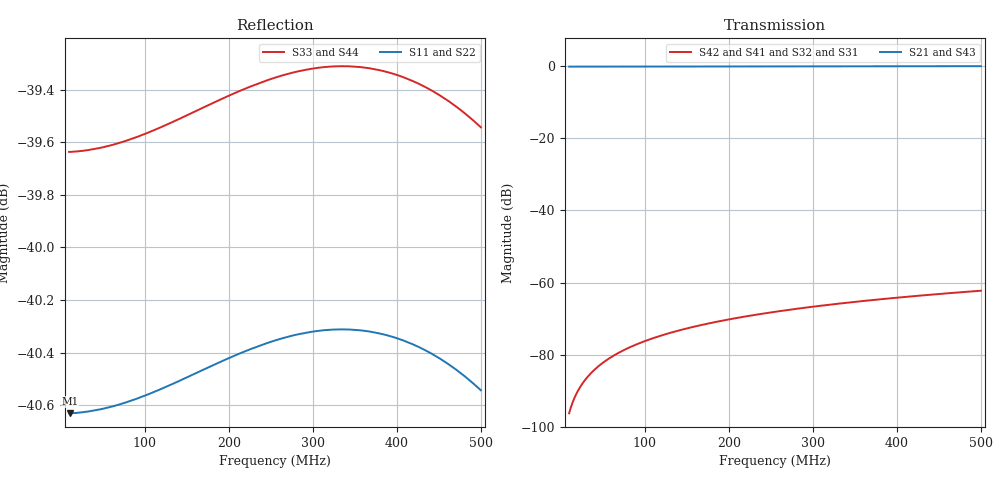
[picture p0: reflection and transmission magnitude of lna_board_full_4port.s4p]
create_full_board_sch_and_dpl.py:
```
import os

# Create lna_fm_98mhz_full_board_cosim.dpl
dpl_content = """<Qucs Schematic 26.1.1>
<Properties>
  <View=60,-411,1141,192,2.04718,0,0>
  <Grid=10,10,1>
  <DataSet=lna_fm_98mhz_full_board_cosim.dat>
  <DataDisplay=lna_fm_98mhz_full_board_cosim.dpl>
  <OpenDisplay=1>
  <Script=>
  <RunScript=0>
  <showFrame=0>
  <FrameText0=Title>
  <FrameText1=Drawn By:>
  <FrameText2=Date:>
  <FrameText3=Revision:>
</Properties>
<Symbol>
</Symbol>
<Components>
</Components>
<Wires>
</Wires>
<Diagrams>
  <Rect 100 80 550 380 3 #c0c0c0 1 00 1 1e+07 5e+07 5e+08 0 -45 10 25 1 -1 0.5 1 315 0 225 1 0 0 "Frequency [Hz]" "S-Parameters [dB]" "">
	<"dB(S[2,1])" #ff0000 0 3 0 0 0>
	<"dB(S[1,1])" #0000ff 0 3 0 0 0>
	<"dB(S[1,2])" #00aa00 0 2 0 0 0>
	<"dB(S[2,2])" #aa00aa 0 2 0 0 0>
  </Rect>
  <Smith 720 80 380 380 3 #c0c0c0 1 00 1 0 1 1 0 0 4 1 1 0 1 1 315 0 225 1 0 0 "" "" "">
	<"S[1,1]" #0000ff 2 3 0 0 0>
	<"S[2,2]" #ff0000 2 3 0 0 0>
  </Smith>
</Diagrams>
<Paintings>
  <Text 100 20 14 #000000 0 "98 MHz FM LNA - Full-Board 4-Port 3D EM Co-Simulation (openEMS + QUCS)">
</Paintings>
"""

with open("lna_fm_98mhz_full_board_cosim.dpl", "w", newline="\n") as f:
    f.write(dpl_content)
print("Created lna_fm_98mhz_full_board_cosim.dpl")

# Create lna_fm_98mhz_full_board_cosim.sch
sch_content = """<Qucs Schematic 25.2.0>
<Properties>
  <View=-50,-80,1200,800,1,0,0>
  <Grid=10,10,1>
  <DataSet=lna_fm_98mhz_full_board_cosim.dat>
  <DataDisplay=lna_fm_98mhz_full_board_cosim.dpl>
  <OpenDisplay=1>
  <Script=>
  <RunScript=0>
  <showFrame=0>
  <FrameText0=Title>
  <FrameText1=Drawn By:>
  <FrameText2=Date:>
  <FrameText3=Revision:>
</Properties>
<Symbol>
</Symbol>
<Components>
<SUBST Subst1 1 80 520 -30 24 0 0 "4.5" 1 "1.6 mm" 1 "35 um" 1 "0.02" 1 "1.72e-08" 0 "1.5e-07" 0>
<Pac P1 1 40 260 -85 -20 0 1 "1" 1 "50 Ohm" 1 "0 dBm" 0 "98 MHz" 0 "26.85" 0 "true" 0>
<GND * 1 40 290 0 0 0 0>
<SPfile PCB_FULL 1 100 240 -35 -40 0 0 "lna_board_full_4port.s4p" 1 "rectangular" 0 "linear" 0 "open" 0 "4" 0>
<L L1 1 180 290 -35 -26 0 1 "22 nH" 1 "" 0>
<GND * 1 180 320 0 0 0 0>
<C C2 1 210 290 15 -26 0 1 "27 pF" 1 "" 0 "neutral" 0>
<GND * 1 210 320 0 0 0 0>
<C C1 1 260 260 -25 -55 0 0 "91 pF" 1 "" 0 "neutral" 0>
<L L2 1 360 290 15 -26 0 1 "470 nH" 1 "" 0>
<R R3 1 360 350 15 -26 0 1 "200 Ohm" 1 "26.85" 0 "0.0" 0 "0.0" 0 "26.85" 0 "european" 0>
<GND * 1 360 380 0 0 0 0>
<_BJT Q1 1 540 230 15 10 0 0 "npn" 0 "1e-14" 0 "1" 0 "1" 0 "0.1" 0 "0.01" 0 "50" 0 "10" 0 "1e-14" 0 "1.5" 0 "0" 0 "2" 0 "90" 0 "2" 0 "0" 0 "0" 0 "10" 0 "1" 0 "5" 0 "1.2e-12" 0 "0.7" 0 "0.33" 0 "1e-12" 0 "0.5" 0 "0.33" 0 "1" 0 "0" 0 "0.75" 0 "0.33" 0 "0.5" 0 "0.09e-9" 0 "10e-9" 0 "10" 0 "1" 0 "0.1" 0>
<C C3 1 180 170 12 -15 0 1 "100 pF" 1 "" 0 "neutral" 0>
<GND * 1 180 200 0 0 0 0>
<C C4 1 260 170 12 -15 0 1 "1 nF" 1 "" 0 "neutral" 0>
<GND * 1 260 200 0 0 0 0>
<C C5 1 340 170 12 -15 0 1 "100 nF" 1 "" 0 "neutral" 0>
<GND * 1 340 200 0 0 0 0>
<R R2 1 420 170 15 -15 0 1 "3.3 kOhm" 1 "26.85" 0 "0.0" 0 "0.0" 0 "26.85" 0 "european" 0>
<GND * 1 420 200 0 0 0 0>
<R R1 1 470 105 15 -26 0 1 "3.9 kOhm" 1 "26.85" 0 "0.0" 0 "0.0" 0 "26.85" 0 "european" 0>
<Vdc VCC 1 80 100 -75 -20 0 1 "5 V" 1>
<GND * 1 80 130 0 0 0 0>
<C C11 1 150 100 15 -20 0 1 "10 uF" 1 "" 0 "neutral" 0>
<GND * 1 150 130 0 0 0 0>
<C C12 1 240 100 15 -20 0 1 "100 nF" 1 "" 0 "neutral" 0>
<GND * 1 240 130 0 0 0 0>
<CLIN TL_COL 1 600 200 -26 -105 0 0 "Subst1" 0 "1.5 mm" 1 "0.35 mm" 1 "3.0 mm" 1 "Metal" 0 "no" 0>
<L L3 1 700 135 15 -20 0 1 "150 nH" 1 "" 0>
<C C6 1 700 230 -65 -15 0 1 "6.8 pF" 1 "" 0 "neutral" 0>
<GND * 1 700 260 0 0 0 0>
<C C7 1 780 200 -25 25 0 0 "10 pF" 1 "" 0 "neutral" 0>
<L L4 1 950 235 15 -20 0 1 "1 uH" 1 "" 0>
<C C9 1 1020 330 15 -15 0 1 "100 pF" 1 "" 0 "neutral" 0>
<GND * 1 1020 360 0 0 0 0>
<C C10 1 1100 330 15 -15 0 1 "10 nF" 1 "" 0 "neutral" 0>
<GND * 1 1100 360 0 0 0 0>
<R R_BT_DUMMY 1 1180 330 15 -15 0 1 "100 kOhm" 1 "26.85" 0 "0.0" 0 "0.0" 0 "26.85" 0 "european" 0>
<GND * 1 1180 360 0 0 0 0>
<Pac P2 1 1100 230 25 -20 0 1 "2" 1 "50 Ohm" 1 "0 dBm" 0 "98 MHz" 0 "26.85" 0 "true" 0>
<GND * 1 1100 260 0 0 0 0>
<.DC DC1 1 300 520 0 38 0 0 "26.85" 0 "0.001" 0 "1 pA" 0 "1 uV" 0 "no" 0 "150" 0 "no" 0 "none" 0 "CroutLU" 0>
<.SP SP1 1 460 520 0 56 0 0 "lin" 1 "10 MHz" 1 "500 MHz" 1 "491" 1 "no" 0 "1" 0 "2" 0 "no" 0 "no" 0>
</Components>
<Wires>
<40 230 70 230 "" 0 0 0 "">
<130 230 180 230 "" 0 0 0 "">
<180 230 210 230 "" 0 0 0 "">
<210 230 230 230 "" 0 0 0 "">
<290 230 360 230 "" 0 0 0 "">
<360 230 540 260 "" 0 0 0 "">
<510 140 510 230 "" 0 0 0 "">
<180 140 260 140 "" 0 0 0 "">
<260 140 340 140 "" 0 0 0 "">
<340 140 420 140 "" 0 0 0 "">
<420 140 470 140 "" 0 0 0 "">
<470 140 510 140 "" 0 0 0 "">
<470 70 470 75 "" 0 0 0 "">
<470 135 470 140 "" 0 0 0 "">
<80 70 150 70 "" 0 0 0 "">
<150 70 240 70 "" 0 0 0 "">
<240 70 470 70 "" 0 0 0 "">
<470 70 700 70 "" 0 0 0 "">
<540 200 570 200 "" 0 0 0 "">
<630 200 700 200 "" 0 0 0 "">
<700 70 700 105 "" 0 0 0 "">
<700 165 700 200 "" 0 0 0 "">
<700 200 750 200 "" 0 0 0 "">
<810 200 840 200 "" 0 0 0 "">
<840 200 950 200 "" 0 0 0 "">
<950 200 950 205 "" 0 0 0 "">
<950 265 950 300 "" 0 0 0 "">
<950 300 1020 300 "" 0 0 0 "">
<1020 300 1100 300 "" 0 0 0 "">
<1100 300 1180 300 "" 0 0 0 "">
<950 200 1100 200 "" 0 0 0 "">
</Wires>
<Diagrams>
</Diagrams>
<Paintings>
</Paintings>
"""

with open("lna_fm_98mhz_full_board_cosim.sch", "w", newline="\n") as f:
    f.write(sch_content)
print("Created lna_fm_98mhz_full_board_cosim.sch")
```
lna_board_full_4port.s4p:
! Created with skrf 2.1.0 (http://scikit-rf.org).
# MHz S RI R 50.0
!freq ReS11 ImS11 ReS12 ImS12 ReS13 ImS13
! ReS14 ImS14
! ReS21 ImS21 ReS22 ImS22 ReS23 ImS23
! ReS24 ImS24
! ReS31 ImS31 ReS32 ImS32 ReS33 ImS33
! ReS34 ImS34
! ReS41 ImS41 ReS42 ImS42 ReS43 ImS43
! ReS44 ImS44
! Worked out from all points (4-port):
!   491 points, 10 MHz to 500 MHz, reference 50 ohm
!   strongest paths, dB at 10 MHz, 132 MHz, 255 MHz, 378 MHz, 500 MHz:
!     S21: -0.1, -0.1, -0.1, 0.0, 0.0
!     S43: -0.2, -0.1, -0.1, 0.0, 0.0
!     S42: -96.2, -73.8, -68.1, -64.7, -62.2
!     S41: -96.2, -73.8, -68.1, -64.7, -62.2
!     S32: -96.2, -73.8, -68.1, -64.7, -62.2
!     S31: -96.2, -73.8, -68.1, -64.7, -62.2
!   lowest |S11| = -40.6 dB at 11 MHz (marker M1), VSWR 1.02, Z = 49.1 + j0.0454 ohm
!   |S11| at or under -10 dB: start of sweep to end of sweep
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10  -0.00929 0.00042  0.9838 -0.00273  1.54e-05 -1.72e-07  1.54e-05 -1.72e-07
    0.9838 -0.00273  -0.00929 0.00042  1.54e-05 -1.72e-07  1.54e-05 -1.72e-07
    1.54e-05 -1.72e-07  1.54e-05 -1.72e-07  -0.0104 0.000475  0.9819 -0.00306
    1.54e-05 -1.72e-07  1.54e-05 -1.72e-07  0.9819 -0.00306  -0.0104 0.000475
11  -0.00929 0.000462  0.9838 -0.003  1.7e-05 -2.08e-07  1.7e-05 -2.08e-07
    0.9838 -0.003  -0.00929 0.000462  1.7e-05 -2.08e-07  1.7e-05 -2.08e-07
    1.7e-05 -2.08e-07  1.7e-05 -2.08e-07  -0.0104 0.000522  0.9819 -0.00337
    1.7e-05 -2.08e-07  1.7e-05 -2.08e-07  0.9819 -0.00337  -0.0104 0.000522
500  -0.00101 0.00934  0.9857 -0.1566  0.000655 -0.000408  0.000655 -0.000408
     0.9857 -0.1566  -0.00101 0.00934  0.000655 -0.000408  0.000655 -0.000408
     0.000655 -0.000408  0.000655 -0.000408  -0.000934 0.0105  0.9822 -0.1757
     0.000655 -0.000408  0.000655 -0.000408  0.9822 -0.1757  -0.000934 0.0105
